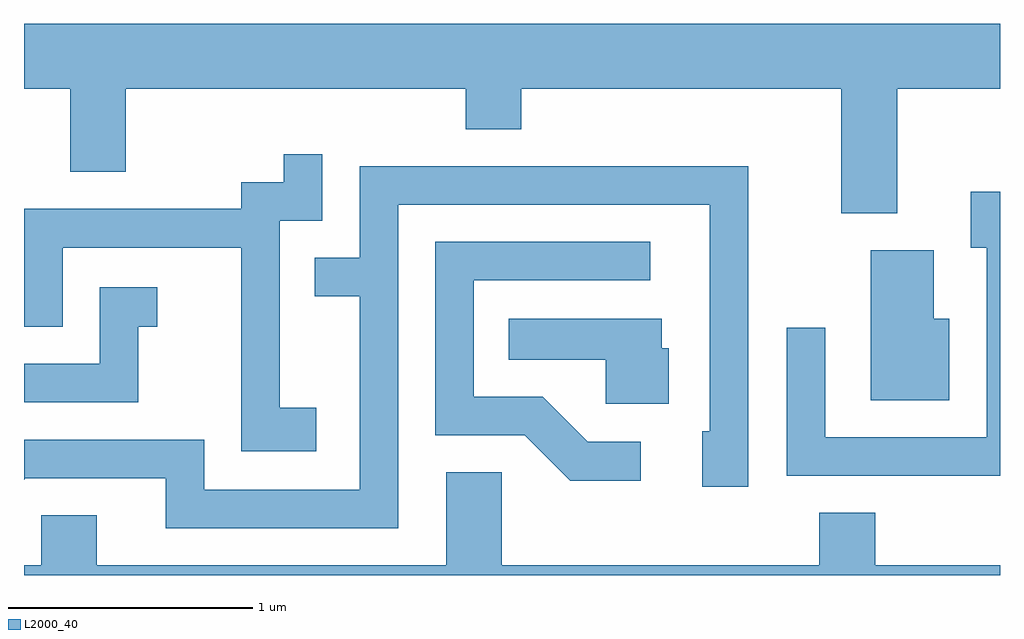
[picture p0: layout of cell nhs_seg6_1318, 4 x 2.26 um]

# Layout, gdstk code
import gdstk
lib = gdstk.Library(unit=1e-6, precision=1e-09)
def P(c, l, *ps):  # polygons
    for p in ps: c.add(gdstk.Polygon(p, *l))
L2000_40 = (2000, 40)

nhs_seg6_1318 = lib.new_cell('nhs_seg6_1318')
P(nhs_seg6_1318, L2000_40, [(227.189,1652.156),(227.611,1652.156),(227.611,1652.424),(223.611,1652.424),(223.611,1652.156),(223.801,1652.156),(223.801,1651.816),(224.029,1651.816),(224.029,1652.156),(225.421,1652.156),(225.421,1651.991),(225.649,1651.991),(225.649,1652.156),(226.961,1652.156),(226.961,1651.646),(227.189,1651.646)],
  [(224.809,1650.849),(224.659,1650.849),(224.659,1651.616),(224.834,1651.616),(224.834,1651.888),(224.676,1651.888),(224.676,1651.774),(224.501,1651.774),(224.501,1651.664),(223.611,1651.664),(223.611,1651.181),(223.769,1651.181),(223.769,1651.506),(224.501,1651.506),(224.501,1650.671),(224.809,1650.671)],
  [(225.144,1651.681),(226.421,1651.681),(226.421,1650.754),(226.391,1650.754),(226.391,1650.526),(226.579,1650.526),(226.579,1651.839),(224.986,1651.839),(224.986,1651.464),(224.803,1651.464),(224.803,1651.306),(224.986,1651.306),(224.986,1650.514),(224.349,1650.514),(224.349,1650.719),(223.611,1650.719),(223.611,1650.555),(223.617,1650.561),(224.191,1650.561),(224.191,1650.356),(225.144,1650.356)],
  [(227.611,1651.734),(227.491,1651.734),(227.491,1651.506),(227.556,1651.506),(227.556,1650.729),(226.894,1650.729),(226.894,1651.178),(226.736,1651.178),(226.736,1650.571),(227.611,1650.571)],
  [(226.138,1650.709),(225.922,1650.709),(225.737,1650.894),(225.454,1650.894),(225.454,1651.371),(226.178,1651.371),(226.178,1651.529),(225.296,1651.529),(225.296,1650.736),(225.664,1650.736),(225.849,1650.551),(226.138,1650.551)],
  [(227.404,1651.214),(227.339,1651.214),(227.339,1651.494),(227.081,1651.494),(227.081,1650.881),(227.404,1650.881)],
  [(224.079,1651.181),(224.158,1651.181),(224.158,1651.344),(223.921,1651.344),(223.921,1651.029),(223.611,1651.029),(223.611,1650.871),(224.079,1650.871)],
  [(226.254,1651.094),(226.224,1651.094),(226.224,1651.214),(225.598,1651.214),(225.598,1651.046),(225.996,1651.046),(225.996,1650.866),(226.254,1650.866)],
  [(227.611,1650.204),(227.099,1650.204),(227.099,1650.419),(226.871,1650.419),(226.871,1650.204),(225.569,1650.204),(225.569,1650.584),(225.341,1650.584),(225.341,1650.204),(223.909,1650.204),(223.909,1650.409),(223.681,1650.409),(223.681,1650.204),(223.611,1650.204),(223.611,1650.162),(227.611,1650.162)])

lib.write_gds('nhs_seg6_1318.gds')
